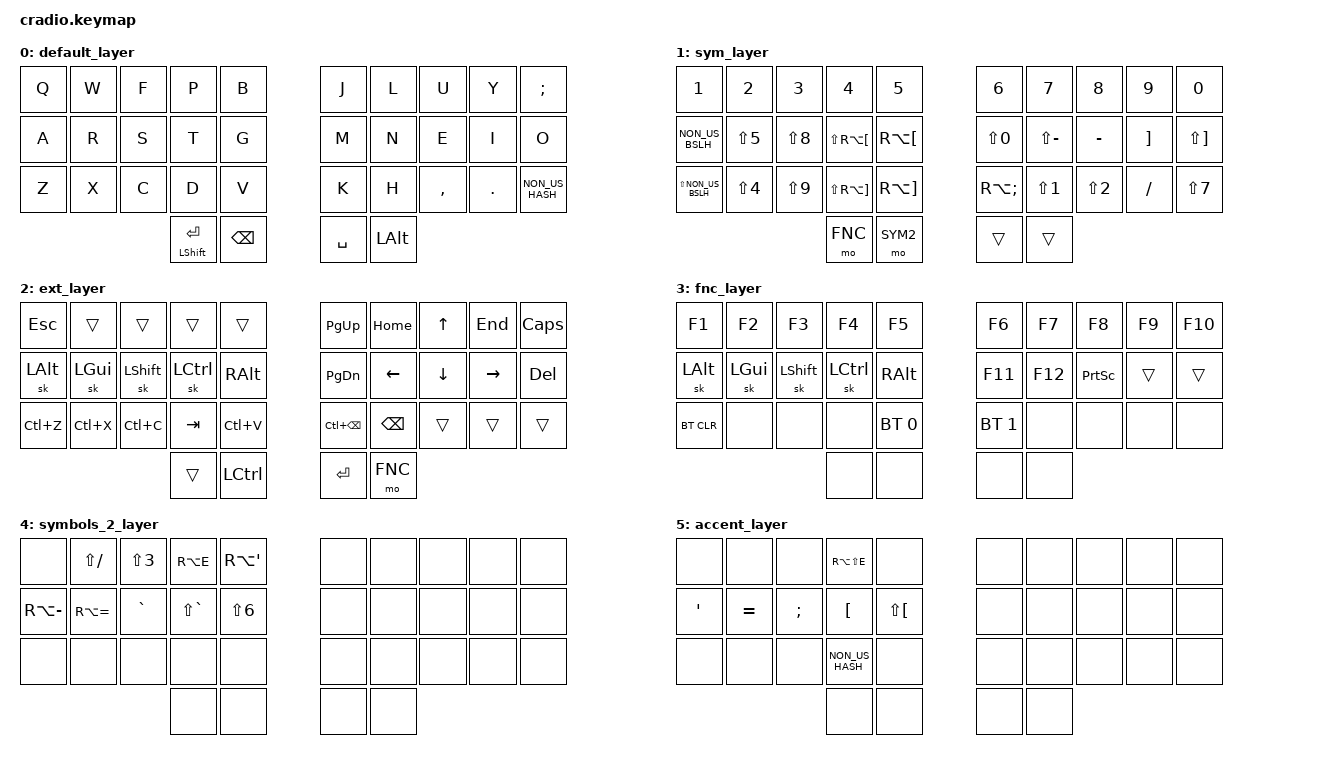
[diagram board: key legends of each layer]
/*
 * Copyright (c) 2020 The ZMK Contributors
 *
 * SPDX-License-Identifier: MIT
 */

#include <behaviors.dtsi>
#include <dt-bindings/zmk/keys.h>
#include <dt-bindings/zmk/bt.h>

// Layer definitions
    #define BASE 0
    #define SYM 1
    #define EXT 2
    #define FNC 3
    #define SYM2 4
    #define ACCENT 5
// -----------------

&mt {
   //  flavor = "tap-preferred";
   // tapping_term_ms = <200>;
};

/ {

    combos {
        compatible = "zmk,combos";
        combo_accent {
            timeout-ms = <300>;
            key-positions = <32 33>;
            bindings = <&mo ACCENT>;
        };
    };

    keymap {
            compatible = "zmk,keymap";

        // Base alpha layer
       		default_layer {
		bindings = <
		&kp Q &kp W &kp F &kp P &kp B           &kp J &kp L  &kp U     &kp Y   &kp SEMI 
		&kp A &kp R &kp S &kp T &kp G           &kp M &kp N  &kp E     &kp I   &kp O
		&kp Z &kp X &kp C &kp D &kp V           &kp K &kp H  &kp COMMA &kp DOT &kp NON_US_HASH
              &mt LSHIFT RET &kp BSPC           &kp SPACE &kp LALT
		>;
		};

        // Numbers and high frequency symbols
       		sym_layer {
		bindings = <
		&kp N1 &kp N2 &kp N3 &kp N4 &kp N5		                                    &kp N6 &kp N7 &kp N8 &kp N9 &kp N0
		&kp NON_US_BSLH &kp LS(N5) &kp LS(N8) &kp LS(RA(LBKT)) &kp RA(LBKT) 		&kp LS(N0) &kp LS(MINUS)  &kp MINUS &kp RBKT &kp LS(RBKT) 
		&kp LS(NON_US_BSLH) &kp LS(N4) &kp LS(N9) &kp LS(RA(RBKT)) &kp RA(RBKT) 	&kp RA(SEMI) &kp LS(N1) &kp LS(N2) &kp SLASH &kp LS(N7)
					                                        &mo FNC  &mo SYM2       &trans &trans
		>;
		};
		
        // Main modifiers and arrow keys
		    ext_layer {
		bindings = <
		&kp ESC  &trans &trans  &trans  &trans    			        &kp PG_UP  &kp HOME &kp UP &kp END &kp CAPS
		&sk LALT &sk LGUI  &sk LSHIFT  &sk LCTRL  &kp RALT 			&kp PG_DN &kp LEFT  &kp DOWN  &kp RIGHT   &kp DEL
		&kp LC(Z)  &kp LC(X) &kp LC(C) &kp TAB   &kp LC(V)          &kp LC(BSPC) &kp BSPC &trans &trans  &trans
					                        &trans &kp LCTRL    &kp ENTER  &mo FNC 
		>;
		};

        // Function keys with modifiers
       		fnc_layer {
		bindings = <
		&kp F1 &kp F2 &kp F3 &kp F4 &kp F5                  &kp F6 &kp F7 &kp F8 &kp F9 &kp F10 
		&sk LALT &sk LGUI &sk LSHIFT &sk LCTRL &kp RALT     &kp F11 &kp F12  &kp PRINTSCREEN &trans &trans
		&bt BT_CLR &none &none &none &bt BT_SEL 0				    &bt BT_SEL 1 &none &none &none &none 
          				           &none &none         &none &none  
		>;
		};

        // Low frequency symbols.
       		symbols_2_layer {
		bindings = <
		&none &kp LS(SLASH) &kp LS(N3) &kp RA(E) &kp RA(APOS)                  &none &none &none &none &none 
		&kp RA(MINUS) &kp RA(EQUAL) &kp GRAVE &kp LS(GRAVE) &kp LS(N6)         &none &none &none &none &none
		&none &none &none &none &none				                           &none &none &none &none &none
          				           &none &none                           &none &none 
		>;
		};

        // Used to type regional accents.
       		accent_layer {
		bindings = <
		&none &none &none &kp RA(LS(E)) &none                      &none &none &none &none &none 
		&kp APOS &kp EQUAL &kp SEMI &kp LBKT &kp LS(LBKT)          &none &none &none &none &none
		&none &none &none &kp NON_US_HASH &none                    &none &none &none &none &none
          				     &none &none                        &none &none 
		>;
		};
        
	};
};
